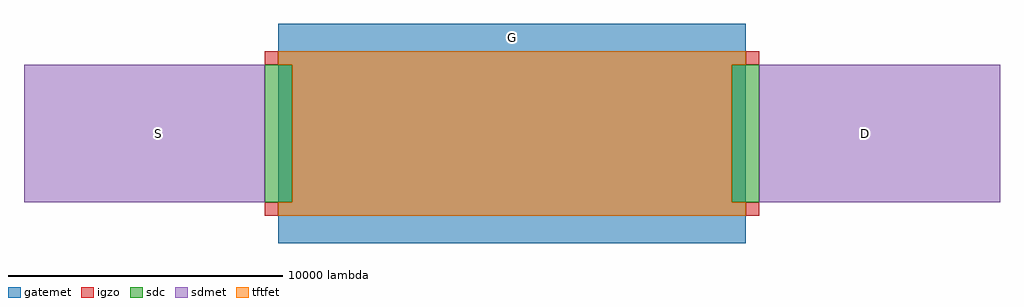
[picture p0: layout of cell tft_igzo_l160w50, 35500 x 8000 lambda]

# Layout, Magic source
magic
tech igzo_mmm_lab
<< igzo >>
rect -9000 2500 -8500 3000
rect 8500 2500 9000 3000
rect -9000 -3000 -8500 -2500
rect 8500 -3000 9000 -2500
<< tftfet >>
rect -8500 2500 8500 3000
rect -8000 -2500 8000 2500
rect -8500 -3000 8500 -2500
<< sdc >>
rect -9000 -2500 -8000 2500
rect 8000 -2500 9000 2500
<< sdmet >>
rect -17750 -2500 -9000 2500
rect 9000 -2500 17750 2500
<< gatemet >>
rect -8500 -4000 8500 4000
<< labels >>
rlabel sdmet s -13125 -250 -12625 250 4 S
port 3 nsew
rlabel sdmet s 12625 -250 13125 250 4 D
port 5 nsew
rlabel gatemet s -250 3250 250 3750 4 G
port 7 nsew
<< end >>
